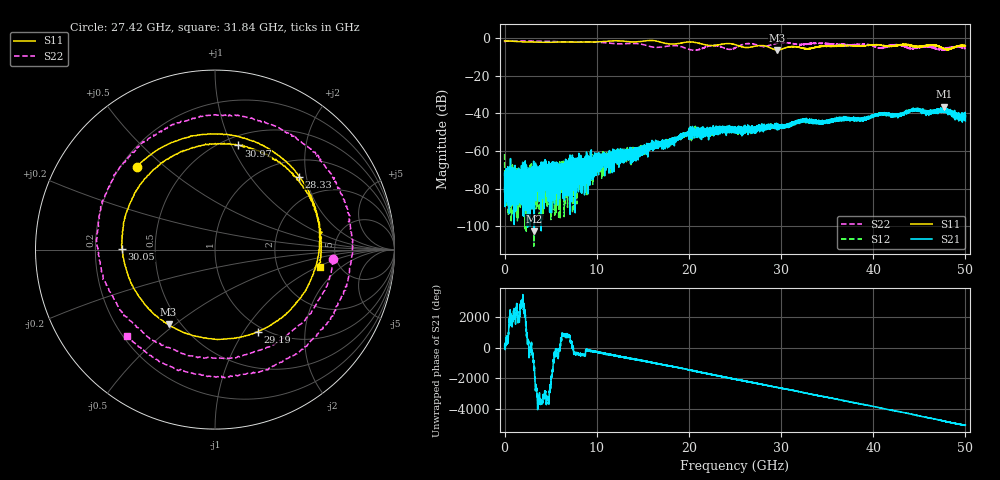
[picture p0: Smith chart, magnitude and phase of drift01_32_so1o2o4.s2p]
!Created with skrf (http://scikit-rf.org).
# Hz S RI R 50.0
!freq ReS11 ImS11 ReS21 ImS21 ReS12 ImS12 ReS22 ImS22
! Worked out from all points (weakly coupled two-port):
!   10001 points, 300 kHz to 50 GHz, reference 50 ohm
!   highest |S21| = -36.34 dB at 47.71 GHz (marker M1); lowest = -102.7 dB at 3.22 GHz (marker M2)
!   lowest |S11| = -6.2 dB at 29.61 GHz (marker M3), VSWR 2.93, Z = 21.6 - j23.7 ohm
!   |S11| at or under -10 dB: nowhere
!   |S22| runs from -6.5 to -1.4 dB; largest |S21 - S12| = 0.0041
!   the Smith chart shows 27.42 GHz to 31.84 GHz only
!   S11 on the Smith chart (normalised r, x): 27.42 GHz: 0.26, +0.40; 28.33 GHz: 1.37, +1.82; 29.19 GHz: 0.93, -1.16; 30.05 GHz: 0.32, +0.00; 30.97 GHz: 0.59, +1.06; 31.84 GHz: 3.56, -1.03
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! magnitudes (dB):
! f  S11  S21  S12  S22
! 300 kHz  -1.3  -71.8  -61.7  -2.1
! 335.3 MHz  -1.4  -72.8  -72.3  -1.4
! 3.22 GHz  -2.0  -102.7  -78.5  -1.5
! 6.465 GHz  -1.9  -67.6  -95.0  -1.9
! 8.335 GHz  -2.0  -70.1  -66.0  -1.8
! 16.67 GHz  -1.6  -56.6  -56.0  -4.8
! 20.6 GHz  -2.1  -48.4  -49.5  -6.3
! 22.6 GHz  -3.8  -48.7  -49.6  -3.8
! 25 GHz  -3.3  -47.0  -48.3  -5.1
! 27.42 GHz  -3.9  -48.9  -48.6  -3.6
! 28.33 GHz  -4.1  -47.7  -46.9  -4.3
! 29.19 GHz  -5.8  -47.4  -46.8  -3.0
! 29.61 GHz  -6.2  -47.3  -46.8  -2.5
! 30.05 GHz  -5.7  -47.6  -47.3  -2.3
! 30.97 GHz  -4.5  -46.5  -46.0  -2.5
! 31.84 GHz  -4.6  -44.9  -44.5  -3.3
! 33.34 GHz  -5.2  -43.9  -44.3  -2.7
! 41.67 GHz  -4.3  -41.1  -40.5  -4.1
! 44.53 GHz  -4.3  -38.0  -37.9  -5.5
! 46.48 GHz  -3.7  -39.7  -39.3  -5.1
! 47.71 GHz  -5.6  -36.3  -38.1  -5.5
! 50 GHz  -3.9  -43.9  -40.6  -5.4
